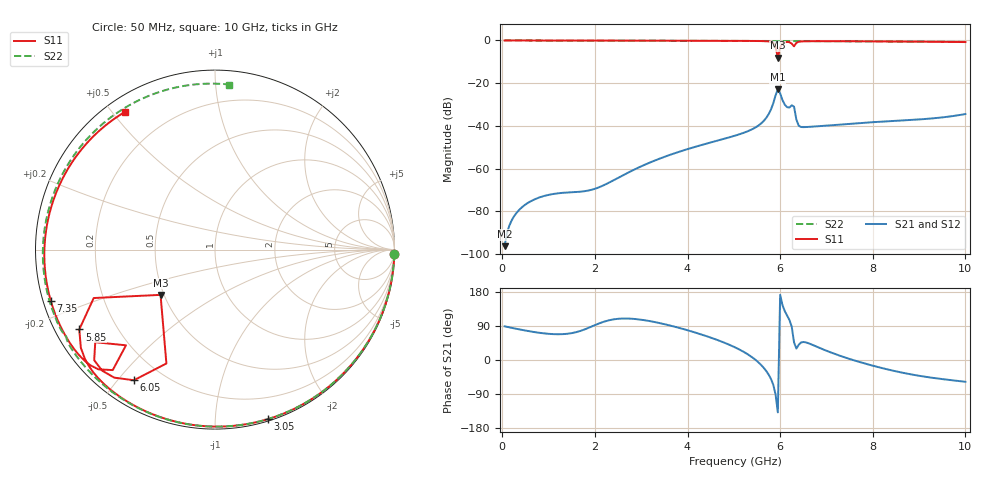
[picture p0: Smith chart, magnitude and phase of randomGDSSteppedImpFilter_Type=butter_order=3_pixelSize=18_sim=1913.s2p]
! freq	dB(S11)	phase(S11)	dB(S12)	phase(S12)
!  dB(S21)	phase(S21)	dB(S22)	phase(S22)
!S-par simulation data
#  GHz  S  DB  R 50
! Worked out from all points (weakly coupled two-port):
!   200 points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, 50 MHz to 10 GHz, reference 50 ohm
!   highest |S21| = -22.83 dB at 5.95 GHz (marker M1); lowest = -96.4 dB at 50 MHz (marker M2)
!   lowest |S11| = -8.1 dB at 5.95 GHz (marker M3), VSWR 2.30, Z = 24 - j14.3 ohm
!   |S11| at or under -10 dB: nowhere
!   |S22| runs from -0.7 to 0.0 dB; largest |S21 - S12| = 0
!   S11 on the Smith chart (normalised r, x): 50 MHz: 1, -91; 3.05 GHz: 0.02, -1.36; 5.85 GHz: 0.07, -0.27; 6.05 GHz: 0.10, -0.55; 7.35 GHz: 0.02, -0.15; 10 GHz: 0.06, +0.54
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0.05  -0.00 -1.3  -96.35 88.8  -96.35 88.8  -0.00 -1.4
0.35  -0.01 -8.6  -79.69 81.2  -79.69 81.2  -0.01 -9.5
0.95  -0.03 -23.3  -72.57 69.6  -72.57 69.6  -0.03 -25.7
1.75  -0.05 -42.5  -70.69 79.4  -70.69 79.4  -0.06 -46.8
3.05  -0.09 -72.6  -58.46 105.4  -58.46 105.4  -0.10 -79.8
3.4  -0.11 -80.5  -55.33 97.4  -55.33 97.4  -0.12 -88.4
5.05  -0.19 -117.5  -44.43 31.9  -44.43 31.9  -0.20 -127.9
5.6  -0.29 -132.8  -38.65 -14.5  -38.65 -14.5  -0.23 -141.2
5.85  -1.14 -149.5  -29.53 -64.8  -29.53 -64.8  -0.27 -147.4
5.9  -2.76 -158.2  -25.78 -90.2  -25.78 -90.2  -0.30 -148.7
5.95  -8.08 -140.3  -22.83 -138.1  -22.83 -138.1  -0.36 -149.7
6  -3.23 -113.1  -24.81 171.9  -24.81 171.9  -0.33 -150.5
6.05  -1.34 -121.8  -27.94 145.0  -27.94 145.0  -0.30 -151.8
6.2  -0.80 -137.5  -31.41 105.6  -31.41 105.6  -0.29 -155.6
6.25  -1.48 -142.3  -30.39 87.8  -30.39 87.8  -0.30 -156.9
6.3  -2.76 -132.9  -31.01 46.5  -31.01 46.5  -0.31 -158.1
6.4  -0.62 -134.2  -39.90 40.0  -39.90 40.0  -0.30 -160.6
6.7  -0.34 -146.0  -40.37 39.9  -40.37 39.9  -0.32 -168.3
7.35  -0.37 -162.6  -39.29 8.8  -39.29 8.8  -0.38 174.3
8.35  -0.48 172.4  -37.83 -25.7  -37.83 -25.7  -0.50 144.7
9.25  -0.61 147.3  -36.58 -46.3  -36.58 -46.3  -0.60 114.0
10  -0.76 123.2  -34.46 -57.5  -34.46 -57.5  -0.69 85.0
